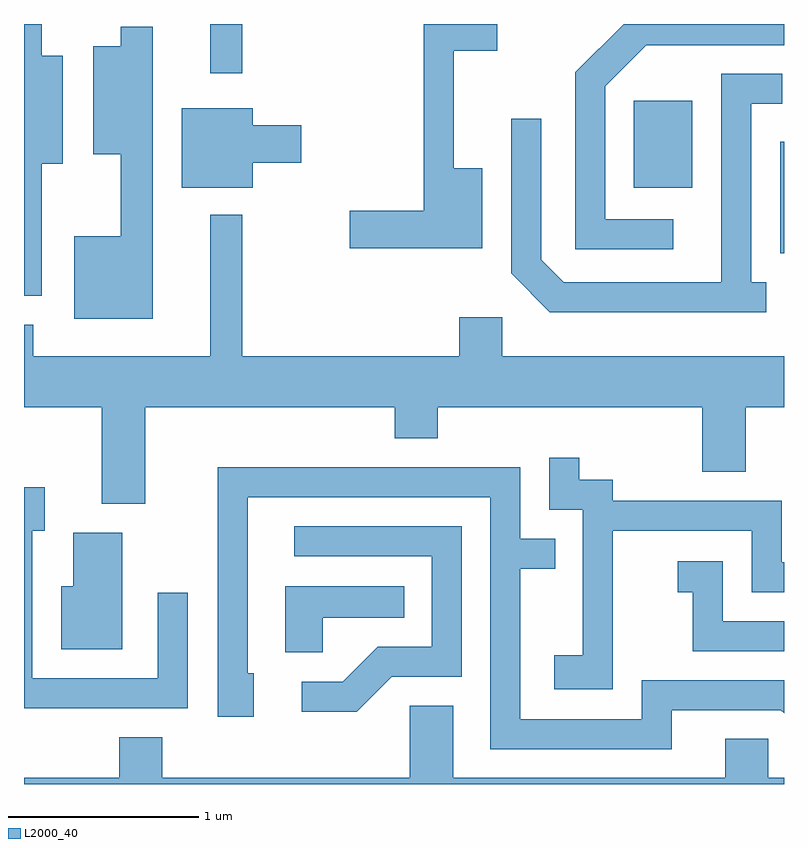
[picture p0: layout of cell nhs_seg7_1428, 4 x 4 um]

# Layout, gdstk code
import gdstk
lib = gdstk.Library(unit=1e-6, precision=1e-09)
def R(c, l, rs):  # rectangles x0, y0, x1, y1
    for r in rs: c.add(gdstk.rectangle(r[:2], r[2:], *l))
def P(c, l, *ps):  # polygons
    for p in ps: c.add(gdstk.Polygon(p, *l))
L2000_40 = (2000, 40)

nhs_seg7_1428 = lib.new_cell('nhs_seg7_1428')
R(nhs_seg7_1428, L2000_40, [(231.591,1795.046,231.611,1795.633), (230.821,1795.391,231.129,1795.849), (228.591,1795.993,228.759,1796.252)])
P(nhs_seg7_1428, L2000_40, [(227.704,1795.516),(227.814,1795.516),(227.814,1796.084),(227.704,1796.084),(227.704,1796.252),(227.611,1796.252),(227.611,1794.821),(227.704,1794.821)],
  [(231.028,1795.224),(230.669,1795.224),(230.669,1795.924),(230.887,1796.141),(231.611,1796.141),(231.611,1796.252),(230.767,1796.252),(230.511,1795.997),(230.511,1795.066),(231.028,1795.066)],
  [(230.024,1795.494),(229.874,1795.494),(229.874,1796.111),(230.103,1796.111),(230.103,1796.252),(229.716,1796.252),(229.716,1795.269),(229.326,1795.269),(229.326,1795.071),(230.024,1795.071)],
  [(228.289,1796.238),(228.121,1796.238),(228.121,1796.134),(227.976,1796.134),(227.976,1795.566),(228.121,1795.566),(228.121,1795.134),(227.876,1795.134),(227.876,1794.701),(228.289,1794.701)],
  [(231.518,1794.894),(231.439,1794.894),(231.439,1795.831),(231.603,1795.831),(231.603,1795.989),(231.281,1795.989),(231.281,1794.894),(230.452,1794.894),(230.334,1795.012),(230.334,1795.753),(230.176,1795.753),(230.176,1794.939),(230.379,1794.736),(231.518,1794.736)],
  [(228.814,1795.521),(229.069,1795.521),(229.069,1795.719),(228.814,1795.719),(228.814,1795.809),(228.441,1795.809),(228.441,1795.391),(228.814,1795.391)],
  [(228.249,1794.236),(229.561,1794.236),(229.561,1794.071),(229.789,1794.071),(229.789,1794.236),(231.181,1794.236),(231.181,1793.896),(231.409,1793.896),(231.409,1794.236),(231.611,1794.236),(231.611,1794.504),(230.129,1794.504),(230.129,1794.709),(229.901,1794.709),(229.901,1794.504),(228.759,1794.504),(228.759,1795.248),(228.591,1795.248),(228.591,1794.504),(227.659,1794.504),(227.659,1794.669),(227.611,1794.669),(227.611,1794.236),(228.021,1794.236),(228.021,1793.726),(228.249,1793.726)],
  [(230.709,1793.586),(231.441,1793.586),(231.441,1793.261),(231.611,1793.261),(231.611,1793.419),(231.599,1793.419),(231.599,1793.744),(230.709,1793.744),(230.709,1793.854),(230.534,1793.854),(230.534,1793.968),(230.376,1793.968),(230.376,1793.696),(230.551,1793.696),(230.551,1792.929),(230.401,1792.929),(230.401,1792.751),(230.709,1792.751)],
  [(231.019,1792.641),(231.594,1792.641),(231.611,1792.624),(231.611,1792.799),(230.861,1792.799),(230.861,1792.594),(230.224,1792.594),(230.224,1793.386),(230.408,1793.386),(230.408,1793.544),(230.224,1793.544),(230.224,1793.919),(228.631,1793.919),(228.631,1792.606),(228.819,1792.606),(228.819,1792.834),(228.789,1792.834),(228.789,1793.761),(230.066,1793.761),(230.066,1792.436),(231.019,1792.436)],
  [(228.474,1793.258),(228.316,1793.258),(228.316,1792.809),(227.654,1792.809),(227.654,1793.586),(227.719,1793.586),(227.719,1793.814),(227.611,1793.814),(227.611,1792.651),(228.474,1792.651)],
  [(229.547,1792.816),(229.914,1792.816),(229.914,1793.609),(229.033,1793.609),(229.033,1793.451),(229.756,1793.451),(229.756,1792.974),(229.474,1792.974),(229.289,1792.789),(229.073,1792.789),(229.073,1792.631),(229.362,1792.631)],
  [(228.129,1793.574),(227.871,1793.574),(227.871,1793.294),(227.806,1793.294),(227.806,1792.961),(228.129,1792.961)],
  [(231.611,1793.109),(231.289,1793.109),(231.289,1793.424),(231.053,1793.424),(231.053,1793.261),(231.131,1793.261),(231.131,1792.951),(231.611,1792.951)],
  [(229.184,1793.126),(229.613,1793.126),(229.613,1793.294),(228.986,1793.294),(228.986,1792.946),(229.184,1792.946)],
  [(231.611,1792.284),(231.529,1792.284),(231.529,1792.489),(231.301,1792.489),(231.301,1792.284),(229.869,1792.284),(229.869,1792.664),(229.641,1792.664),(229.641,1792.284),(228.339,1792.284),(228.339,1792.499),(228.111,1792.499),(228.111,1792.284),(227.611,1792.284),(227.611,1792.252),(231.611,1792.252)])

lib.write_gds('nhs_seg7_1428.gds')
